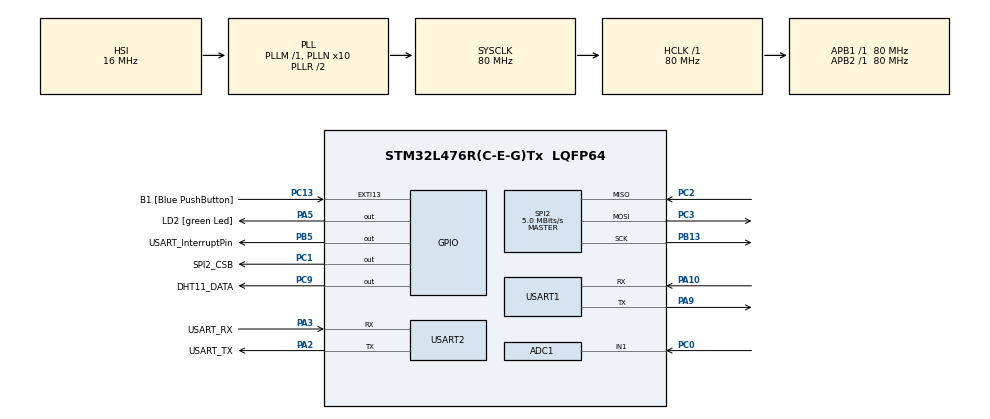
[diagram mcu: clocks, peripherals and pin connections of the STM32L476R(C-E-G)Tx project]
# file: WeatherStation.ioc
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ADC1.Channel-0\#ChannelRegularConversion=ADC_CHANNEL_1
ADC1.ClockPrescaler=ADC_CLOCK_ASYNC_DIV1
ADC1.ContinuousConvMode=ENABLE
ADC1.NbrOfConversion=1
ADC1.NbrOfConversionFlag=1
ADC1.OffsetNumber-0\#ChannelRegularConversion=ADC_OFFSET_NONE
ADC1.Overrun=ADC_OVR_DATA_OVERWRITTEN
ADC1.Rank-0\#ChannelRegularConversion=1
ADC1.SamplingTime-0\#ChannelRegularConversion=ADC_SAMPLETIME_640CYCLES_5
ADC1.master=1
CRC.CRCLength=CRC_POLYLENGTH_16B
CRC.DefaultInitValueUse=DEFAULT_INIT_VALUE_DISABLE
CRC.DefaultPolynomialUse=DEFAULT_POLYNOMIAL_DISABLE
CRC.GeneratingPolynomial=X12+X5+X0
Dma.Request0=USART2_RX
Dma.Request1=USART2_TX
Dma.USART2_RX.0.Direction=DMA_PERIPH_TO_MEMORY
Dma.USART2_RX.0.Instance=DMA1_Channel6
Dma.USART2_RX.0.MemDataAlignment=DMA_MDATAALIGN_BYTE
Dma.USART2_RX.0.MemInc=DMA_MINC_ENABLE
Dma.USART2_RX.0.Mode=DMA_CIRCULAR
Dma.USART2_RX.0.PeriphDataAlignment=DMA_PDATAALIGN_BYTE
Dma.USART2_RX.0.PeriphInc=DMA_PINC_DISABLE
Dma.USART2_RX.0.Priority=DMA_PRIORITY_LOW
Dma.USART2_TX.1.Direction=DMA_MEMORY_TO_PERIPH
Dma.USART2_TX.1.Instance=DMA1_Channel7
Dma.USART2_TX.1.MemDataAlignment=DMA_MDATAALIGN_BYTE
Dma.USART2_TX.1.MemInc=DMA_MINC_ENABLE
Dma.USART2_TX.1.Mode=DMA_CIRCULAR
Dma.USART2_TX.1.PeriphDataAlignment=DMA_PDATAALIGN_BYTE
Dma.USART2_TX.1.PeriphInc=DMA_PINC_DISABLE
Dma.USART2_TX.1.Priority=DMA_PRIORITY_LOW
Mcu.Family=STM32L4
Mcu.Name=STM32L476R(C-E-G)Tx
Mcu.Package=LQFP64
NVIC.DMA1_Channel6_IRQn=true\:0\:0\:false\:false\:true\:false\:true
NVIC.DMA1_Channel7_IRQn=true\:0\:0\:false\:false\:true\:false\:true
NVIC.PriorityGroup=NVIC_PRIORITYGROUP_4
NVIC.TIM2_IRQn=true\:0\:0\:false\:false\:true\:true\:true
NVIC.USART2_IRQn=true\:0\:0\:false\:false\:true\:true\:true
PA10.Mode=Asynchronous
PA10.Signal=USART1_RX
PA13\ (JTMS-SWDIO).GPIO_Label=TMS
PA13\ (JTMS-SWDIO).Mode=Serial_Wire
PA13\ (JTMS-SWDIO).Signal=SYS_JTMS-SWDIO
PA14\ (JTCK-SWCLK).GPIO_Label=TCK
PA14\ (JTCK-SWCLK).Mode=Serial_Wire
PA14\ (JTCK-SWCLK).Signal=SYS_JTCK-SWCLK
PA2.GPIO_Label=USART_TX
PA2.GPIO_Mode=GPIO_MODE_AF_PP
PA2.GPIO_PuPd=GPIO_NOPULL
PA2.GPIO_Speed=GPIO_SPEED_FREQ_VERY_HIGH
PA2.Mode=Asynchronous
PA2.Signal=USART2_TX
PA3.GPIO_Label=USART_RX
PA3.GPIO_Mode=GPIO_MODE_AF_PP
PA3.GPIO_PuPd=GPIO_NOPULL
PA3.GPIO_Speed=GPIO_SPEED_FREQ_VERY_HIGH
PA3.Mode=Asynchronous
PA3.Signal=USART2_RX
PA5.GPIO_Label=LD2 [green Led]
PA5.GPIO_ModeDefaultOutputPP=GPIO_MODE_OUTPUT_PP
PA5.GPIO_PuPd=GPIO_NOPULL
PA5.GPIO_Speed=GPIO_SPEED_FREQ_LOW
PA5.Signal=GPIO_Output
PA9.Mode=Asynchronous
PA9.Signal=USART1_TX
PB13.Mode=Full_Duplex_Master
PB13.Signal=SPI2_SCK
PB3\ (JTDO-TRACESWO).GPIO_Label=SWO
PB3\ (JTDO-TRACESWO).Signal=SYS_JTDO-SWO
PB5.GPIO_Label=USART_InterruptPin
PB5.Signal=GPIO_Output
PC0.Signal=ADCx_IN1
PC1.GPIO_Label=SPI2_CSB
PC1.Signal=GPIO_Output
PC13.GPIO_Label=B1 [Blue PushButton]
PC13.GPIO_ModeDefaultEXTI=GPIO_MODE_IT_FALLING
PC13.GPIO_PuPd=GPIO_NOPULL
PC13.Signal=GPXTI13
PC14-OSC32_IN\ (PC14).Mode=LSE-External-Oscillator
PC14-OSC32_IN\ (PC14).Signal=RCC_OSC32_IN
PC15-OSC32_OUT\ (PC15).Mode=LSE-External-Oscillator
PC15-OSC32_OUT\ (PC15).Signal=RCC_OSC32_OUT
PC2.Mode=Full_Duplex_Master
PC2.Signal=SPI2_MISO
PC3.Mode=Full_Duplex_Master
PC3.Signal=SPI2_MOSI
PC9.GPIO_Label=DHT11_DATA
PC9.Signal=GPIO_Output
PH0-OSC_IN\ (PH0).Signal=RCC_OSC_IN
PH1-OSC_OUT\ (PH1).Signal=RCC_OSC_OUT
ProjectManager.HeapSize=0x200
ProjectManager.StackSize=0x400
ProjectManager.TargetToolchain=STM32CubeIDE
RCC.ADCFreq_Value=64000000
RCC.AHBFreq_Value=80000000
RCC.APB1Freq_Value=80000000
RCC.APB1TimFreq_Value=80000000
RCC.APB2Freq_Value=80000000
RCC.APB2TimFreq_Value=80000000
RCC.CortexFreq_Value=80000000
RCC.HCLKFreq_Value=80000000
RCC.HSE_VALUE=8000000
RCC.HSI_VALUE=16000000
RCC.MSI_VALUE=4000000
RCC.PLLN=10
RCC.PLLSourceVirtual=RCC_PLLSOURCE_HSI
RCC.PREFETCH_ENABLE=1
RCC.SYSCLKFreq_VALUE=80000000
RCC.SYSCLKSource=RCC_SYSCLKSOURCE_PLLCLK
RCC.USBFreq_Value=64000000
RCC.VCOOutputFreq_Value=160000000
SH.ADCx_IN1.0=ADC1_IN1,IN1-Single-Ended
SPI2.BaudRatePrescaler=SPI_BAUDRATEPRESCALER_16
SPI2.CalculateBaudRate=5.0 MBits/s
SPI2.DataSize=SPI_DATASIZE_8BIT
SPI2.Direction=SPI_DIRECTION_2LINES
SPI2.Mode=SPI_MODE_MASTER
SPI2.VirtualType=VM_MASTER
TIM2.AutoReloadPreload=TIM_AUTORELOAD_PRELOAD_ENABLE
TIM2.Period=738462
TIM2.Prescaler=65000
TIM3.Prescaler=80-1
USART1.VirtualMode-Asynchronous=VM_ASYNC
USART2.VirtualMode-Asynchronous=VM_ASYNC
VP_CRC_VS_CRC.Mode=CRC_Activate
VP_TIM2_VS_ClockSourceINT.Mode=Internal
VP_TIM3_VS_ClockSourceINT.Mode=Internal
board=NUCLEO-L476RG

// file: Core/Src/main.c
/* USER CODE BEGIN Header */
/**
  ******************************************************************************
  * @file           : main.c
  * @brief          : Main program body
  ******************************************************************************
  * @attention
  *
  * <h2><center>&copy; Copyright (c) 2022 STMicroelectronics.
  * All rights reserved.</center></h2>
  *
  * This software component is licensed by ST under BSD 3-Clause license,
  * the "License"; You may not use this file except in compliance with the
  * License. You may obtain a copy of the License at:
  *                        opensource.org/licenses/BSD-3-Clause
  *
  ******************************************************************************
  */
/* USER CODE END Header */
#include "main.h"

/* USER CODE BEGIN Includes */
#include<stdio.h>
#include<BMP280.h>
/* USER CODE END Includes */

/* USER CODE BEGIN PD */
#define BMP280
#define BMP_SPI 1
#define BMP_I2C 0
/* USER CODE END PD */

ADC_HandleTypeDef hadc1;

CRC_HandleTypeDef hcrc;

SPI_HandleTypeDef hspi2;

TIM_HandleTypeDef htim2;
TIM_HandleTypeDef htim3;

UART_HandleTypeDef huart1;
UART_HandleTypeDef huart2;
DMA_HandleTypeDef hdma_usart2_rx;
DMA_HandleTypeDef hdma_usart2_tx;

void SystemClock_Config(void);
static void MX_GPIO_Init(void);
static void MX_USART2_UART_Init(void);
static void MX_ADC1_Init(void);
static void MX_SPI2_Init(void);
static void MX_USART1_UART_Init(void);
static void MX_DMA_Init(void);
static void MX_TIM3_Init(void);
static void MX_TIM2_Init(void);
static void MX_CRC_Init(void);
/* USER CODE BEGIN PFP */

uint8_t RH_byte1,RH_byte2,Temp_byte1,Temp_byte2;
uint16_t SUM,RH,Te;
float Temperature=0;
float Humidity=0;
uint8_t Presence=0;
volatile int FlagInterruption = 0;
float temp_1, huminidity_1;
int32_t pressure, temperature;
/* USER CODE END PFP */

/* USER CODE BEGIN 0 */

#define DHT_PORT GPIOC
#define DHT_PIN GPIO_PIN_9

/*Funkcja printf wywołuje funckje _write która jest funkcją
 *z atrybutem weak w bibliotece stdio.h, co powoduje że można
 *ją zastąpić własną implementacją, która służy do komunikacji
 *za pomocą UART.*/
int _write ( int file , char *ptr , int len ) {

	HAL_UART_Transmit(&huart1 , (uint8_t*)ptr , len , 50) ;
	return len;
}

/*Funkcja odpowiedzialna za generowanie opóżnień które
 * służa w komunikacji z czujnikiem DHT11. Ustawia timer
 * na wartosć 0 po czym sprawdza czy wartość timera
 * jest większa niż oczekiwane opóżnienie*/
void delay_us (uint16_t us)
{
	__HAL_TIM_SET_COUNTER(&htim3,0);
	while (__HAL_TIM_GET_COUNTER(&htim3) < us);
}

/* Funkcja odpowiedzialna za ustawienie danego pinu
* jako wyjście. */
void Set_Pin_Output (GPIO_TypeDef *GPIOx, uint16_t GPIO_Pin)
{
	GPIO_InitTypeDef GPIO_InitStruct = {0};
	GPIO_InitStruct.Pin = GPIO_Pin;
	GPIO_InitStruct.Mode = GPIO_MODE_OUTPUT_PP;
	GPIO_InitStruct.Speed = GPIO_SPEED_FREQ_LOW;
	HAL_GPIO_Init(GPIOx, &GPIO_InitStruct);
}

/*
 * Funkcja odpowiedzialna za ustawienie pinu jako wejście*/
void Set_Pin_Input (GPIO_TypeDef *GPIOx, uint16_t GPIO_Pin)
{
	GPIO_InitTypeDef GPIO_InitStruct = {0};
	GPIO_InitStruct.Pin = GPIO_Pin;
	GPIO_InitStruct.Mode = GPIO_MODE_INPUT;
	GPIO_InitStruct.Pull = GPIO_NOPULL;
	HAL_GPIO_Init(GPIOx, &GPIO_InitStruct);
}

/* Inicjalizacja poąłczenia polegająca na usatwieniu
 * pinu odpowiedzialnego za komunikacje z czujnikiem
 * DHT11 jako wyjście i ustawienie stanu niskiego
 * który będzie trwał 18 ms, następnie pin
 * konfigurowany jest jako wejście, aby odczytać
 * odpowiedź czujnika.*/
void DHT11_Start (void)
{
	Set_Pin_Output (DHT_PORT, DHT_PIN);
	HAL_GPIO_WritePin (DHT_PORT, DHT_PIN, 0);
	 delay_us(18000);
	Set_Pin_Input(DHT_PORT, DHT_PIN);
}

/* Funkcja odpowiedzialna za sprawdzenie odpowiedzi
 * czujnika DHT 11, po 40 s następuje sprawdzenie
 * stanu pinu czy jest w stanie niskim, następnie
 * po 80 ms sprawdza się czy stan jest wysoki.
 * Oczekiwanie na stan niski co powoduje
 * początek wysłania danych.
 * */
uint8_t Check_Response (void)
{
	uint8_t Response = 0;
	 delay_us(40);
	if (!(HAL_GPIO_ReadPin (DHT_PORT, DHT_PIN)))
	{
		 delay_us(80);
		if ((HAL_GPIO_ReadPin (DHT_PORT, DHT_PIN))) Response = 1;
		else Response = -1;
	}
	while ((HAL_GPIO_ReadPin (DHT_PORT, DHT_PIN)));

	return Response;
}

/* Funkcja odpowiedzialna za odczytanie 8 bitów z wejścia
 * na początku sprawdzane czy pin jest w stanie wysokim.
 * Jeśli czas trwania stanu wysokiego wynosi 26-28 us
 * oznacza logiczne zero, natomiast jeżeli 40 s oznacza
 * logiczną jednykę.
 * */
uint8_t DHT11_Read (void)
{
	uint8_t i,j;
	for (j=0;j<8;j++)
	{
		while (!(HAL_GPIO_ReadPin (DHT_PORT, DHT_PIN)));
		delay_us(40);
		if (!(HAL_GPIO_ReadPin (DHT_PORT, DHT_PIN)))
		{
			i&= ~(1<<(7-j));
		}
		else i|= (1<<(7-j));
		while ((HAL_GPIO_ReadPin (DHT_PORT, DHT_PIN)));
	}
	return i;
}

/*Wywolanie przerwania, spawdzane jest czy przerwanie wywołał
 * timer2.*/
void HAL_TIM_PeriodElapsedCallback(TIM_HandleTypeDef *htim){
	if(htim->Instance == TIM2){
		FlagInterruption = 1;
	}
}

/* USER CODE END 0 */

int main(void)
{

  /* MCU Configuration--------------------------------------------------------*/

  /* Reset of all peripherals, Initializes the Flash interface and the Systick. */
  HAL_Init();

  /* Configure the system clock */
  SystemClock_Config();

  /* Initialize all configured peripherals */
  MX_GPIO_Init();
  MX_USART2_UART_Init();
  MX_ADC1_Init();
  MX_SPI2_Init();
  MX_USART1_UART_Init();
  MX_DMA_Init();
  MX_TIM3_Init();
  MX_TIM2_Init();
  MX_CRC_Init();
  /* USER CODE BEGIN 2 */
  HAL_ADCEx_Calibration_Start(&hadc1, ADC_SINGLE_ENDED);
  HAL_ADC_Start(&hadc1);

  HAL_TIM_Base_Start(&htim3);
  HAL_TIM_Base_Start_IT(&htim2);

  BMP280_Init(&hspi2, BMP280_TEMPERATURE_16BIT, BMP280_ULTRAHIGHRES, BMP280_NORMALMODE);

  /* USER CODE END 2 */

  /* Infinite loop */
  /* USER CODE BEGIN WHILE */
  while (1)
  {
	  if(FlagInterruption == 1){
		  char toPrint[20];
		  uint16_t crc;
		  //Odczyt temperatury
		  uint32_t adc_value = HAL_ADC_GetValue(&hadc1);
		  float temp = adc_value * 330.0f / 4096.0f;

		  //Odczyt wilgotności
		  DHT11_Start();
		  Presence=Check_Response();
		  RH_byte1=DHT11_Read();
		  RH_byte2=DHT11_Read();
		  Temp_byte1=DHT11_Read();
		  Temp_byte2=DHT11_Read();
		  SUM=DHT11_Read();

		  Te=Temp_byte1;
		  RH=RH_byte1;
		  Temperature = (float) Te;
		  Humidity =(float) RH;

		  //Odczyt ciśnienia
		  HAL_GPIO_WritePin(SPI2_CSB_GPIO_Port, SPI2_CSB_Pin, 1);
		  pressure = BMP280_ReadPressure();
		  HAL_GPIO_WritePin(SPI2_CSB_GPIO_Port, SPI2_CSB_Pin, 0);

		  //Utworzenie napisu z zebranych danych oraz stworzenie sumy kontrolnej
		  sprintf(toPrint, "X %.0f %.0f %d ", temp, Humidity,  pressure);
		  printf(toPrint);
		  crc = HAL_CRC_Calculate(&hcrc, (uint32_t*)toPrint, strlen(toPrint));

		  //Zmania stanu pinu odpowidzalnego za wywołanie przerwania w ESP32
		  HAL_GPIO_WritePin(USART_InterruptPin_GPIO_Port, USART_InterruptPin_Pin, GPIO_PIN_SET);
		  HAL_GPIO_WritePin(USART_InterruptPin_GPIO_Port, USART_InterruptPin_Pin, GPIO_PIN_RESET);
		  HAL_Delay(10);

		  //Wysłanie ramki informacji
		  printf("%X\n", crc);
		  //Informacja o wysłaniu ramki dla użytkownika
		  HAL_UART_Transmit(&huart2 , "Wyslanie danych \r \n" , strlen("Wyslanie danych \r \n"), 50) ;
		  HAL_UART_Transmit(&huart2 , toPrint , strlen(toPrint), 50) ;
		  HAL_UART_Transmit(&huart2 , "\r \n" , strlen("\r \n"), 50) ;

		  FlagInterruption = 0;
	  	}

    /* USER CODE END WHILE */

  }
}

void SystemClock_Config(void)
{
  RCC_OscInitTypeDef RCC_OscInitStruct = {0};
  RCC_ClkInitTypeDef RCC_ClkInitStruct = {0};
  RCC_PeriphCLKInitTypeDef PeriphClkInit = {0};

  /** Initializes the RCC Oscillators according to the specified parameters
  * in the RCC_OscInitTypeDef structure.
  */
  RCC_OscInitStruct.OscillatorType = RCC_OSCILLATORTYPE_HSI;
  RCC_OscInitStruct.HSIState = RCC_HSI_ON;
  RCC_OscInitStruct.HSICalibrationValue = RCC_HSICALIBRATION_DEFAULT;
  RCC_OscInitStruct.PLL.PLLState = RCC_PLL_ON;
  RCC_OscInitStruct.PLL.PLLSource = RCC_PLLSOURCE_HSI;
  RCC_OscInitStruct.PLL.PLLM = 1;
  RCC_OscInitStruct.PLL.PLLN = 10;
  RCC_OscInitStruct.PLL.PLLP = RCC_PLLP_DIV7;
  RCC_OscInitStruct.PLL.PLLQ = RCC_PLLQ_DIV2;
  RCC_OscInitStruct.PLL.PLLR = RCC_PLLR_DIV2;
  if (HAL_RCC_OscConfig(&RCC_OscInitStruct) != HAL_OK)
  {
    Error_Handler();
  }
  /** Initializes the CPU, AHB and APB buses clocks
  */
  RCC_ClkInitStruct.ClockType = RCC_CLOCKTYPE_HCLK|RCC_CLOCKTYPE_SYSCLK
                              |RCC_CLOCKTYPE_PCLK1|RCC_CLOCKTYPE_PCLK2;
  RCC_ClkInitStruct.SYSCLKSource = RCC_SYSCLKSOURCE_PLLCLK;
  RCC_ClkInitStruct.AHBCLKDivider = RCC_SYSCLK_DIV1;
  RCC_ClkInitStruct.APB1CLKDivider = RCC_HCLK_DIV1;
  RCC_ClkInitStruct.APB2CLKDivider = RCC_HCLK_DIV1;

  if (HAL_RCC_ClockConfig(&RCC_ClkInitStruct, FLASH_LATENCY_4) != HAL_OK)
  {
    Error_Handler();
  }
  PeriphClkInit.PeriphClockSelection = RCC_PERIPHCLK_USART1|RCC_PERIPHCLK_USART2
                              |RCC_PERIPHCLK_ADC;
  PeriphClkInit.Usart1ClockSelection = RCC_USART1CLKSOURCE_PCLK2;
  PeriphClkInit.Usart2ClockSelection = RCC_USART2CLKSOURCE_PCLK1;
  PeriphClkInit.AdcClockSelection = RCC_ADCCLKSOURCE_PLLSAI1;
  PeriphClkInit.PLLSAI1.PLLSAI1Source = RCC_PLLSOURCE_HSI;
  PeriphClkInit.PLLSAI1.PLLSAI1M = 1;
  PeriphClkInit.PLLSAI1.PLLSAI1N = 8;
  PeriphClkInit.PLLSAI1.PLLSAI1P = RCC_PLLP_DIV7;
  PeriphClkInit.PLLSAI1.PLLSAI1Q = RCC_PLLQ_DIV2;
  PeriphClkInit.PLLSAI1.PLLSAI1R = RCC_PLLR_DIV2;
  PeriphClkInit.PLLSAI1.PLLSAI1ClockOut = RCC_PLLSAI1_ADC1CLK;
  if (HAL_RCCEx_PeriphCLKConfig(&PeriphClkInit) != HAL_OK)
  {
    Error_Handler();
  }
  /** Configure the main internal regulator output voltage
  */
  if (HAL_PWREx_ControlVoltageScaling(PWR_REGULATOR_VOLTAGE_SCALE1) != HAL_OK)
  {
    Error_Handler();
  }
}

static void MX_ADC1_Init(void)
{

  ADC_MultiModeTypeDef multimode = {0};
  ADC_ChannelConfTypeDef sConfig = {0};

  /** Common config
  */
  hadc1.Instance = ADC1;
  hadc1.Init.ClockPrescaler = ADC_CLOCK_ASYNC_DIV1;
  hadc1.Init.Resolution = ADC_RESOLUTION_12B;
  hadc1.Init.DataAlign = ADC_DATAALIGN_RIGHT;
  hadc1.Init.ScanConvMode = ADC_SCAN_DISABLE;
  hadc1.Init.EOCSelection = ADC_EOC_SINGLE_CONV;
  hadc1.Init.LowPowerAutoWait = DISABLE;
  hadc1.Init.ContinuousConvMode = ENABLE;
  hadc1.Init.NbrOfConversion = 1;
  hadc1.Init.DiscontinuousConvMode = DISABLE;
  hadc1.Init.ExternalTrigConv = ADC_SOFTWARE_START;
  hadc1.Init.ExternalTrigConvEdge = ADC_EXTERNALTRIGCONVEDGE_NONE;
  hadc1.Init.DMAContinuousRequests = DISABLE;
  hadc1.Init.Overrun = ADC_OVR_DATA_OVERWRITTEN;
  hadc1.Init.OversamplingMode = DISABLE;
  if (HAL_ADC_Init(&hadc1) != HAL_OK)
  {
    Error_Handler();
  }
  /** Configure the ADC multi-mode
  */
  multimode.Mode = ADC_MODE_INDEPENDENT;
  if (HAL_ADCEx_MultiModeConfigChannel(&hadc1, &multimode) != HAL_OK)
  {
    Error_Handler();
  }
  /** Configure Regular Channel
  */
  sConfig.Channel = ADC_CHANNEL_1;
  sConfig.Rank = ADC_REGULAR_RANK_1;
  sConfig.SamplingTime = ADC_SAMPLETIME_640CYCLES_5;
  sConfig.SingleDiff = ADC_SINGLE_ENDED;
  sConfig.OffsetNumber = ADC_OFFSET_NONE;
  sConfig.Offset = 0;
  if (HAL_ADC_ConfigChannel(&hadc1, &sConfig) != HAL_OK)
  {
    Error_Handler();
  }

}

static void MX_CRC_Init(void)
{

  hcrc.Instance = CRC;
  hcrc.Init.DefaultPolynomialUse = DEFAULT_POLYNOMIAL_DISABLE;
  hcrc.Init.DefaultInitValueUse = DEFAULT_INIT_VALUE_DISABLE;
  hcrc.Init.GeneratingPolynomial = 4129;
  hcrc.Init.CRCLength = CRC_POLYLENGTH_16B;
  hcrc.Init.InitValue = 0;
  hcrc.Init.InputDataInversionMode = CRC_INPUTDATA_INVERSION_NONE;
  hcrc.Init.OutputDataInversionMode = CRC_OUTPUTDATA_INVERSION_DISABLE;
  hcrc.InputDataFormat = CRC_INPUTDATA_FORMAT_BYTES;
  if (HAL_CRC_Init(&hcrc) != HAL_OK)
  {
    Error_Handler();
  }

}

static void MX_SPI2_Init(void)
{

  /* SPI2 parameter configuration*/
  hspi2.Instance = SPI2;
  hspi2.Init.Mode = SPI_MODE_MASTER;
  hspi2.Init.Direction = SPI_DIRECTION_2LINES;
  hspi2.Init.DataSize = SPI_DATASIZE_8BIT;
  hspi2.Init.CLKPolarity = SPI_POLARITY_LOW;
  hspi2.Init.CLKPhase = SPI_PHASE_1EDGE;
  hspi2.Init.NSS = SPI_NSS_SOFT;
  hspi2.Init.BaudRatePrescaler = SPI_BAUDRATEPRESCALER_16;
  hspi2.Init.FirstBit = SPI_FIRSTBIT_MSB;
  hspi2.Init.TIMode = SPI_TIMODE_DISABLE;
  hspi2.Init.CRCCalculation = SPI_CRCCALCULATION_DISABLE;
  hspi2.Init.CRCPolynomial = 7;
  hspi2.Init.CRCLength = SPI_CRC_LENGTH_DATASIZE;
  hspi2.Init.NSSPMode = SPI_NSS_PULSE_ENABLE;
  if (HAL_SPI_Init(&hspi2) != HAL_OK)
  {
    Error_Handler();
  }

}

static void MX_TIM2_Init(void)
{

  TIM_ClockConfigTypeDef sClockSourceConfig = {0};
  TIM_MasterConfigTypeDef sMasterConfig = {0};

  htim2.Instance = TIM2;
  htim2.Init.Prescaler = 65000;
  htim2.Init.CounterMode = TIM_COUNTERMODE_UP;
  htim2.Init.Period = 738462;
  htim2.Init.ClockDivision = TIM_CLOCKDIVISION_DIV1;
  htim2.Init.AutoReloadPreload = TIM_AUTORELOAD_PRELOAD_ENABLE;
  if (HAL_TIM_Base_Init(&htim2) != HAL_OK)
  {
    Error_Handler();
  }
  sClockSourceConfig.ClockSource = TIM_CLOCKSOURCE_INTERNAL;
  if (HAL_TIM_ConfigClockSource(&htim2, &sClockSourceConfig) != HAL_OK)
  {
    Error_Handler();
  }
  sMasterConfig.MasterOutputTrigger = TIM_TRGO_RESET;
  sMasterConfig.MasterSlaveMode = TIM_MASTERSLAVEMODE_DISABLE;
  if (HAL_TIMEx_MasterConfigSynchronization(&htim2, &sMasterConfig) != HAL_OK)
  {
    Error_Handler();
  }

}

static void MX_TIM3_Init(void)
{

  TIM_ClockConfigTypeDef sClockSourceConfig = {0};
  TIM_MasterConfigTypeDef sMasterConfig = {0};

  htim3.Instance = TIM3;
  htim3.Init.Prescaler = 80-1;
  htim3.Init.CounterMode = TIM_COUNTERMODE_UP;
  htim3.Init.Period = 65535;
  htim3.Init.ClockDivision = TIM_CLOCKDIVISION_DIV1;
  htim3.Init.AutoReloadPreload = TIM_AUTORELOAD_PRELOAD_DISABLE;
  if (HAL_TIM_Base_Init(&htim3) != HAL_OK)
  {
    Error_Handler();
  }
  sClockSourceConfig.ClockSource = TIM_CLOCKSOURCE_INTERNAL;
  if (HAL_TIM_ConfigClockSource(&htim3, &sClockSourceConfig) != HAL_OK)
  {
    Error_Handler();
  }
  sMasterConfig.MasterOutputTrigger = TIM_TRGO_RESET;
  sMasterConfig.MasterSlaveMode = TIM_MASTERSLAVEMODE_DISABLE;
  if (HAL_TIMEx_MasterConfigSynchronization(&htim3, &sMasterConfig) != HAL_OK)
  {
    Error_Handler();
  }

}

static void MX_USART1_UART_Init(void)
{

  huart1.Instance = USART1;
  huart1.Init.BaudRate = 115200;
  huart1.Init.WordLength = UART_WORDLENGTH_8B;
  huart1.Init.StopBits = UART_STOPBITS_1;
  huart1.Init.Parity = UART_PARITY_NONE;
  huart1.Init.Mode = UART_MODE_TX_RX;
  huart1.Init.HwFlowCtl = UART_HWCONTROL_NONE;
  huart1.Init.OverSampling = UART_OVERSAMPLING_16;
  huart1.Init.OneBitSampling = UART_ONE_BIT_SAMPLE_DISABLE;
  huart1.AdvancedInit.AdvFeatureInit = UART_ADVFEATURE_NO_INIT;
  if (HAL_UART_Init(&huart1) != HAL_OK)
  {
    Error_Handler();
  }

}

static void MX_USART2_UART_Init(void)
{

  huart2.Instance = USART2;
  huart2.Init.BaudRate = 115200;
  huart2.Init.WordLength = UART_WORDLENGTH_8B;
  huart2.Init.StopBits = UART_STOPBITS_1;
  huart2.Init.Parity = UART_PARITY_NONE;
  huart2.Init.Mode = UART_MODE_TX_RX;
  huart2.Init.HwFlowCtl = UART_HWCONTROL_NONE;
  huart2.Init.OverSampling = UART_OVERSAMPLING_16;
  huart2.Init.OneBitSampling = UART_ONE_BIT_SAMPLE_DISABLE;
  huart2.AdvancedInit.AdvFeatureInit = UART_ADVFEATURE_NO_INIT;
  if (HAL_UART_Init(&huart2) != HAL_OK)
  {
    Error_Handler();
  }

}

static void MX_DMA_Init(void)
{

  /* DMA controller clock enable */
  __HAL_RCC_DMA1_CLK_ENABLE();

  /* DMA interrupt init */
  /* DMA1_Channel6_IRQn interrupt configuration */
  HAL_NVIC_SetPriority(DMA1_Channel6_IRQn, 0, 0);
  HAL_NVIC_EnableIRQ(DMA1_Channel6_IRQn);
  /* DMA1_Channel7_IRQn interrupt configuration */
  HAL_NVIC_SetPriority(DMA1_Channel7_IRQn, 0, 0);
  HAL_NVIC_EnableIRQ(DMA1_Channel7_IRQn);

}

static void MX_GPIO_Init(void)
{
  GPIO_InitTypeDef GPIO_InitStruct = {0};

  /* GPIO Ports Clock Enable */
  __HAL_RCC_GPIOC_CLK_ENABLE();
  __HAL_RCC_GPIOH_CLK_ENABLE();
  __HAL_RCC_GPIOA_CLK_ENABLE();
  __HAL_RCC_GPIOB_CLK_ENABLE();

  /*Configure GPIO pin Output Level */
  HAL_GPIO_WritePin(GPIOC, SPI2_CSB_Pin|DHT11_DATA_Pin, GPIO_PIN_RESET);

  /*Configure GPIO pin Output Level */
  HAL_GPIO_WritePin(LD2_GPIO_Port, LD2_Pin, GPIO_PIN_RESET);

  /*Configure GPIO pin Output Level */
  HAL_GPIO_WritePin(USART_InterruptPin_GPIO_Port, USART_InterruptPin_Pin, GPIO_PIN_RESET);

  /*Configure GPIO pin : B1_Pin */
  GPIO_InitStruct.Pin = B1_Pin;
  GPIO_InitStruct.Mode = GPIO_MODE_IT_FALLING;
  GPIO_InitStruct.Pull = GPIO_NOPULL;
  HAL_GPIO_Init(B1_GPIO_Port, &GPIO_InitStruct);

  /*Configure GPIO pins : SPI2_CSB_Pin DHT11_DATA_Pin */
  GPIO_InitStruct.Pin = SPI2_CSB_Pin|DHT11_DATA_Pin;
  GPIO_InitStruct.Mode = GPIO_MODE_OUTPUT_PP;
  GPIO_InitStruct.Pull = GPIO_NOPULL;
  GPIO_InitStruct.Speed = GPIO_SPEED_FREQ_LOW;
  HAL_GPIO_Init(GPIOC, &GPIO_InitStruct);

  /*Configure GPIO pin : LD2_Pin */
  GPIO_InitStruct.Pin = LD2_Pin;
  GPIO_InitStruct.Mode = GPIO_MODE_OUTPUT_PP;
  GPIO_InitStruct.Pull = GPIO_NOPULL;
  GPIO_InitStruct.Speed = GPIO_SPEED_FREQ_LOW;
  HAL_GPIO_Init(LD2_GPIO_Port, &GPIO_InitStruct);

  /*Configure GPIO pin : USART_InterruptPin_Pin */
  GPIO_InitStruct.Pin = USART_InterruptPin_Pin;
  GPIO_InitStruct.Mode = GPIO_MODE_OUTPUT_PP;
  GPIO_InitStruct.Pull = GPIO_NOPULL;
  GPIO_InitStruct.Speed = GPIO_SPEED_FREQ_LOW;
  HAL_GPIO_Init(USART_InterruptPin_GPIO_Port, &GPIO_InitStruct);

}

void Error_Handler(void)
{
}

/************************ (C) COPYRIGHT STMicroelectronics *****END OF FILE****/
